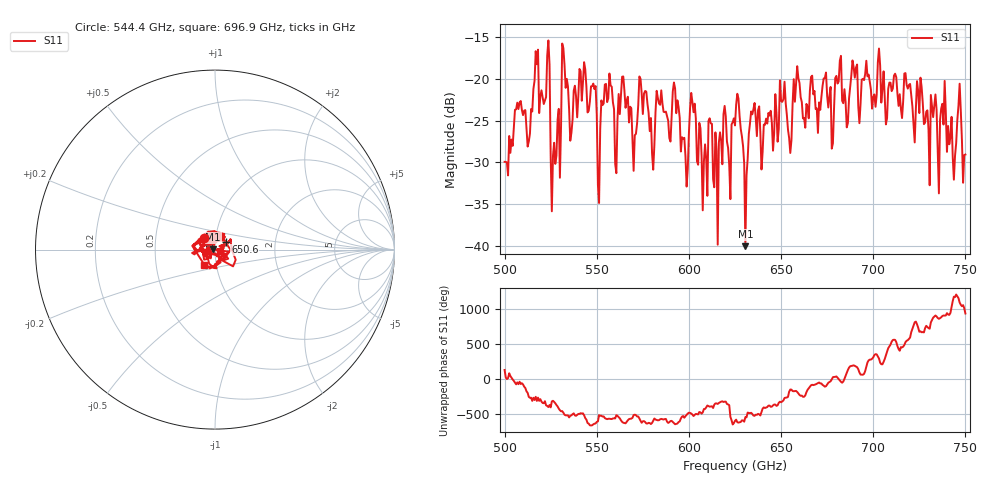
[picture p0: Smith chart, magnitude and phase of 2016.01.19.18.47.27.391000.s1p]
!Created with skrf (http://scikit-rf.org).
# GHz S RI R 50.0
!freq ReS11 ImS11
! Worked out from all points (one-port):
!   401 points, 500 GHz to 750 GHz, reference 50 ohm
!   lowest |S11| = -40.0 dB at 630.6 GHz (marker M1), VSWR 1.02, Z = 49 + j0.16 ohm
!   |S11| at or under -10 dB: start of sweep to end of sweep
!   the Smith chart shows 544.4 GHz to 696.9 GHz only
!   S11 on the Smith chart (normalised r, x): 544.4 GHz: 0.87, +0.11; 650.6 GHz: 1.12, +0.10; 696.9 GHz: 0.88, -0.15
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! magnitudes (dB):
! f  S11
! 500 GHz  -29.9
! 507.5 GHz  -23.6
! 513.8 GHz  -26.6
! 516.9 GHz  -16.7
! 523.1 GHz  -17.2
! 526.9 GHz  -27.7
! 531.2 GHz  -15.8
! 544.4 GHz  -20.9
! 551.2 GHz  -34.9
! 553.8 GHz  -22.9
! 562.5 GHz  -24.2
! 570.6 GHz  -26.7
! 574.4 GHz  -21.8
! 580 GHz  -29.0
! 593.8 GHz  -22.6
! 611.9 GHz  -25.3
! 614.4 GHz  -26.4
! 625 GHz  -25.6
! 630.6 GHz  -40.0
! 634.4 GHz  -24.2
! 650.6 GHz  -22.8
! 656.2 GHz  -23.0
! 687.5 GHz  -20.9
! 696.9 GHz  -19.7
! 718.8 GHz  -21.2
! 743.8 GHz  -32.1
! 746.9 GHz  -20.6
! 750 GHz  -29.1
